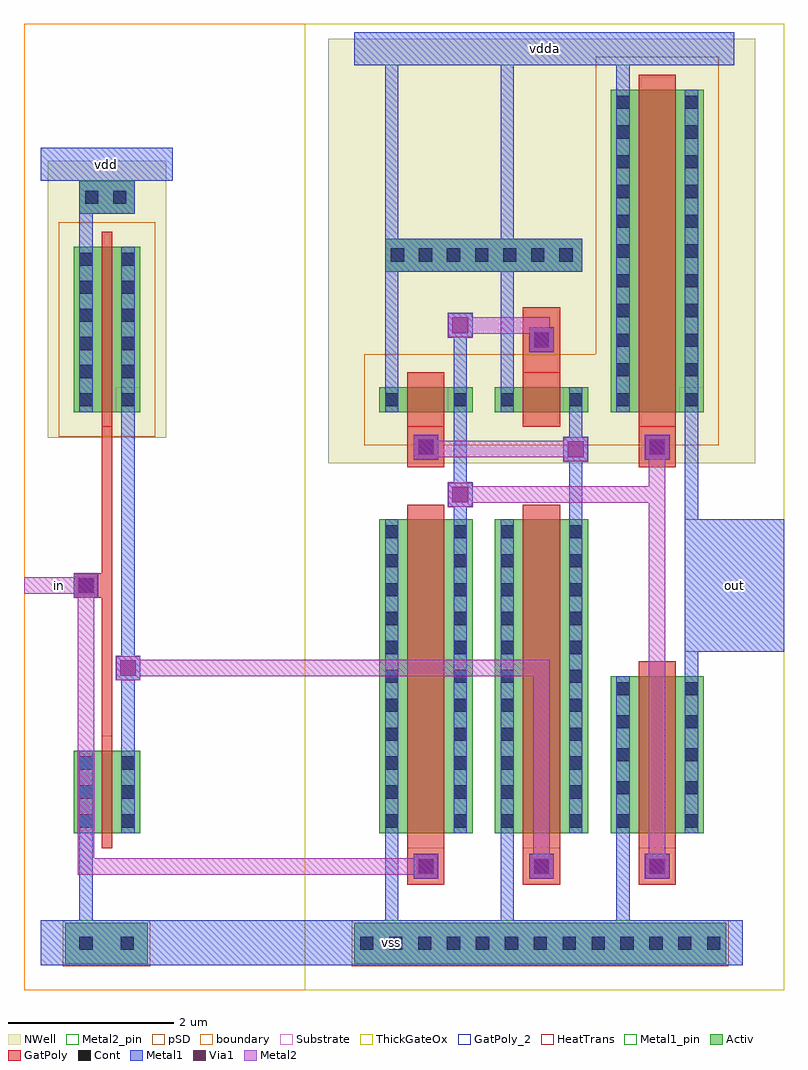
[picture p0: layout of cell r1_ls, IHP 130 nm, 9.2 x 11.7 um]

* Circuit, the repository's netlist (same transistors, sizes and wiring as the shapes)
** R1_LS LVS reference, generated by make_lvs_cdl.py from schematic/g1_ls_up_copy.spice (subckt renamed g1_ls_up -> r1_ls)
.subckt r1_ls in out vdd vdda vss
*.ipin in
*.opin out
*.iopin vdd
*.iopin vdda
*.iopin vss
MPI inb in vdd vdd sg13_lv_pmos w=2u l=0.13u ng=1 m=1
MNI inb in vss vss sg13_lv_nmos w=1u l=0.13u ng=1 m=1
MN1 nb in vss vss sg13_hv_nmos w=3.8u l=0.45u ng=1 m=1
MN2 n inb vss vss sg13_hv_nmos w=3.8u l=0.45u ng=1 m=1
MP1 nb n vdda vdda sg13_hv_pmos w=0.3u l=0.45u ng=1 m=1
MP2 n nb vdda vdda sg13_hv_pmos w=0.3u l=0.45u ng=1 m=1
MPO out nb vdda vdda sg13_hv_pmos w=3.9u l=0.45u ng=1 m=1
MNO out nb vss vss sg13_hv_nmos w=1.9u l=0.45u ng=1 m=1
.ends

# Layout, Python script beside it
#!/usr/bin/env python3
"""r1_ls layout (copy of the G1 g1_ls_up generator; only the cell and file names changed): 1.2 V -> 3.3 V level shifter cell of the g1_ls library, built from the
PDK MOS PCells (SG13_dev: nmos, pmos, nmosHV, pmosHV) plus hand-drawn well/substrate ties,
Metal1/Metal2 wiring, one ThickGateOx rectangle over the 3.3 V part, pin labels and a prBoundary (189/4).

Devices (must match ../xschem/gen_ls.py SIZES):
  MPI  sg13_lv_pmos 2/0.13     LV inverter (vdd well)           MNI  sg13_lv_nmos 1/0.13
  MN1  sg13_hv_nmos 3.8/0.45   pull-down of nb, gate = in      MN2  sg13_hv_nmos 3.8/0.45  gate = inb
  MP1  sg13_hv_pmos 0.3/0.45   keeper of nb, gate = n          MP2  sg13_hv_pmos 0.3/0.45  gate = nb
  MPO  sg13_hv_pmos 3.9/0.45   output inverter (vdda well)     MNO  sg13_hv_nmos 1.9/0.45

Floorplan (design coordinates, um; the written cell is shifted so its lower-left is (0,0)):
  LV column at x = -3.70 (own NWell on vdd, 1.96 um from the vdda NWell: NW.b1 1.8),
  HV NMOS row with Activ bottom at y = 0, HV PMOS row at y = 5.10 inside one NWell on vdda
  (-0.62..4.55 x 4.48..9.62), one ThickGateOx rectangle -0.90..4.90 x -1.90..9.80.
  vss rail along the bottom over two p+ substrate ties, vdda rail on top, vdd rail top-left.
  Signals in/inb/n/nb on Metal2 (0.20 um), everything else Metal1; via pads 0.30 x 0.30 Metal1.
Rule values used (DRC deck at PDK commit 8437402): Act.b 0.21, Gat.b1 0.25, Gat.d 0.07,
  Cnt.a 0.16, Cnt.b 0.18, Cnt.c/d 0.07, Cnt.e 0.14, Cnt.f 0.11, M1.a/b 0.16/0.18, V1.a 0.19,
  V1.c1 0.05, M2.a/b 0.20/0.21, pSD.c1 0.03, pSD.d 0.18, pSD.d1 0.03, pSD.j1 0.40, NW.b1 1.8,
  NW.c 0.31, NW.d1 0.62, NW.e 0.24, NW.f1 0.62, TGO.a/b 0.27, TGO.c/d 0.34.

Run inside the pinned container (KLayout 0.30.9, PDK commit 8437402):
  G1_WORKDIR=designs/r1-joint/blocks/r1_ls/layout flow/run.sh klayout -b -r r1_ls_layout.py
Writes r1_ls.gds (top cell r1_ls), r1_ls.lef and r1_ls.vh next to this script.
"""
import os, sys
K = '/foss/pdks/ihp-sg13g2/libs.tech/klayout/python'
for p in [K, K + '/pycell4klayout-api/source/python']:
    sys.path.insert(0, p)
import pya
import sg13g2_pycell_lib  # registers library SG13_dev (technology sg13g2)

HERE = os.path.dirname(os.path.abspath(__file__))
lib = pya.Library.library_by_name('SG13_dev', 'sg13g2')
LAYERS = {'Activ': (1, 0), 'GatPoly': (5, 0), 'Cont': (6, 0), 'M1': (8, 0), 'M1pin': (8, 2), 'M1txt': (8, 25),
          'M2': (10, 0), 'M2pin': (10, 2), 'M2txt': (10, 25), 'Via1': (19, 0), 'pSD': (14, 0),
          'NWell': (31, 0), 'TGO': (44, 0), 'prBoundary': (189, 4)}
CONT, VIA = 0.16, 0.19
OX, OY = 4.30, 1.90            # shift so that the cell's lower-left corner is (0, 0)
CELL_W, CELL_H = 9.20, 11.70   # cell size (um)

def um(v):
    return int(round(v * 1000))

class Draw:
    def __init__(self, ly, cell):
        self.ly, self.cell = ly, cell
        self.L = {n: ly.layer(*v) for n, v in LAYERS.items()}
        self.pins = []   # (name, layer, box) for the LEF
    def box(self, layer, x1, y1, x2, y2):
        self.cell.shapes(self.L[layer]).insert(pya.Box(um(x1 + OX), um(y1 + OY), um(x2 + OX), um(y2 + OY)))
    def square(self, layer, cx, cy, size):
        self.box(layer, cx - size / 2, cy - size / 2, cx + size / 2, cy + size / 2)
    def label(self, layer, x, y, text):
        t = pya.Text(text, pya.Trans(pya.Point(um(x + OX), um(y + OY))))
        t.size = um(0.2)
        self.cell.shapes(self.L[layer]).insert(t)
    def pin(self, name, metal, x1, y1, x2, y2):
        """pin rectangle on Metal1 or Metal2 (drawing + pin datatype + text)"""
        self.box(metal, x1, y1, x2, y2)
        self.box(metal + 'pin', x1, y1, x2, y2)
        self.label(metal + 'txt', (x1 + x2) / 2, (y1 + y2) / 2, name)
        self.pins.append((name, 'Metal1' if metal == 'M1' else 'Metal2', (x1 + OX, y1 + OY, x2 + OX, y2 + OY)))
    def pcell(self, name, w, l, x, y):
        pcv = lib.layout().add_pcell_variant(lib.layout().pcell_id(name), {'w': '%gu' % w, 'l': '%gu' % l, 'ng': 1})
        cell = self.ly.cell(self.ly.add_lib_cell(lib, pcv))
        self.cell.insert(pya.CellInstArray(cell.cell_index(), pya.Trans(pya.Point(um(x + OX), um(y + OY)))))
    def m1pad(self, cx, cy, via=True):
        """0.30 x 0.30 Metal1 pad, with a Via1 (and a 0.29 x 0.29 Metal2 pad) when via=True"""
        self.square('M1', cx, cy, 0.30)
        if via:
            self.square('Via1', cx, cy, VIA)
            self.square('M2', cx, cy, 0.29)
    def gate_pad(self, gx1, gx2, y_from, y_to, via=True):
        """poly tab from the PCell end cap (y_from) to y_to with one contact and a Metal1 pad;
        the Metal1 pad is 0.30 wide, centred on the gate; returns the contact centre"""
        cy = (y_from + y_to) / 2
        cx = (gx1 + gx2) / 2
        self.box('GatPoly', gx1, min(y_from, y_to), gx2, max(y_from, y_to))
        self.square('Cont', cx, cy, CONT)
        self.m1pad(cx, cy, via)
        return cx, cy
    def m2h(self, y, x1, x2, w=0.20):
        """Metal2 wire along y between the centre points x1 and x2, ends extended by w/2 so that
        a horizontal and a vertical wire meeting at a point form a full corner (no M2.a notch)"""
        self.box('M2', min(x1, x2) - w / 2, y - w / 2, max(x1, x2) + w / 2, y + w / 2)
    def m2v(self, x, y1, y2, w=0.20):
        self.box('M2', x - w / 2, min(y1, y2) - w / 2, x + w / 2, max(y1, y2) + w / 2)
    def tap(self, kind, x1, y1, x2, y2, cx_list, cy):
        """n+ (kind='n', inside an NWell) or p+ (kind='p', pSD ring) tie: Activ box, contacts, Metal1"""
        self.box('Activ', x1, y1, x2, y2)
        if kind == 'p':
            self.box('pSD', x1 - 0.03, y1 - 0.03, x2 + 0.03, y2 + 0.03)
        for cx in cx_list:
            self.square('Cont', cx, cy, CONT)
        self.box('M1', x1, y1, x2, y2)

def build():
    ly = pya.Layout(); ly.dbu = 0.001
    top = ly.create_cell("r1_ls")
    D = Draw(ly, top)

    # ------------------------------------------------------------------ devices
    D.pcell('nmos',   1.0, 0.13, -3.70, 0.00)   # MNI: S -3.63..-3.47, D -3.12..-2.96, poly -3.36..-3.23 x -0.18..1.18
    D.pcell('pmos',   2.0, 0.13, -3.70, 5.10)   # MPI: same x, Activ y 5.10..7.10, poly y 4.92..7.28
    D.pcell('nmosHV', 3.8, 0.45,  0.00, 0.00)   # MN1: S 0.07..0.23, D 0.90..1.06, poly 0.34..0.79 x -0.18..3.98
    D.pcell('nmosHV', 3.8, 0.45,  1.40, 0.00)   # MN2: S 1.47..1.63, D 2.30..2.46, poly 1.74..2.19
    D.pcell('nmosHV', 1.9, 0.45,  2.80, 0.00)   # MNO: S 2.87..3.03, D 3.70..3.86, poly 3.14..3.59 x -0.18..2.08
    D.pcell('pmosHV', 0.3, 0.45,  0.00, 5.10)   # MP1: S 0.07..0.23, D 0.90..1.06, poly 0.34..0.79 x 4.92..5.58
    D.pcell('pmosHV', 0.3, 0.45,  1.40, 5.10)   # MP2: S 1.47..1.63, D 2.30..2.46, poly 1.74..2.19
    D.pcell('pmosHV', 3.9, 0.45,  2.80, 5.10)   # MPO: S 2.87..3.03, D 3.70..3.86, poly 3.14..3.59 x 4.92..9.18

    # wells and thick oxide: one NWell per supply, one ThickGateOx over the whole 3.3 V part
    D.box('NWell', -4.01, 4.79, -2.58, 8.14)    # vdd well (LV PMOS + its tie)
    D.box('NWell', -0.62, 4.48,  4.55, 9.62)    # vdda well (HV PMOS + tie)
    D.box('TGO',   -0.90, -1.90, 4.90, 9.80)

    # ------------------------------------------------------------------ LV inverter (in -> inb)
    # gate: poly strip joins the two gates, tab to the left with the contact
    D.box('GatPoly', -3.36, 1.18, -3.23, 4.92)
    D.box('GatPoly', -3.70, 2.85, -3.23, 3.15)
    D.square('Cont', -3.55, 3.00, CONT)
    D.m1pad(-3.55, 3.00)                                     # via to the in Metal2
    # inb: drain strips joined on Metal1, via pad for the Metal2 wire
    D.box('M1', -3.12, 1.00, -2.96, 5.10)
    D.m1pad(-3.04, 2.00)
    # vdd: source strip up to the n+ tie and the rail
    D.box('M1', -3.63, 7.10, -3.47, 7.50)
    D.tap('n', -3.63, 7.50, -2.96, 7.90, [-3.48, -3.14], 7.70)     # Cnt.b 0.18 between the contacts, Cnt.c 0.07 to the Activ edge
    D.pin('vdd', 'M1', -4.10, 7.90, -2.50, 8.30)
    # vss: source strip down to the rail
    D.box('M1', -3.63, -1.05, -3.47, 0.00)

    # ------------------------------------------------------------------ HV NMOS gates (bottom pads)
    D.gate_pad(0.34, 0.79, -0.18, -0.62)     # MN1 gate = in   (contact at (0.565, -0.40))
    D.gate_pad(1.74, 2.19, -0.18, -0.62)     # MN2 gate = inb
    D.gate_pad(3.14, 3.59, -0.18, -0.62)     # MNO gate = nb
    # sources to the vss rail
    for xs in (0.07, 1.47, 2.87):
        D.box('M1', xs, -1.05, xs + 0.16, 0.00)
    # ------------------------------------------------------------------ HV PMOS gates
    D.gate_pad(0.34, 0.79, 4.92, 4.43)       # MP1 gate = n   (bottom pad, contact (0.565, 4.675))
    D.gate_pad(3.14, 3.59, 4.92, 4.43)       # MPO gate = nb  (bottom pad)
    D.gate_pad(1.74, 2.19, 5.58, 6.37)       # MP2 gate = nb  (top pad, contact (1.965, 5.975))
    # sources to the vdda rail (through the n+ tie)
    for xs in (0.07, 1.47):
        D.box('M1', xs, 5.40, xs + 0.16, 9.30)
    D.box('M1', 2.87, 9.00, 3.03, 9.30)
    D.tap('n', 0.07, 6.80, 2.46, 7.20, [0.22 + 0.34 * i for i in range(7)], 7.00)   # Cnt.c 0.07 enclosure, Cnt.b 0.18
    D.pin('vdda', 'M1', -0.30, 9.30, 4.30, 9.70)

    # ------------------------------------------------------------------ nb and n verticals (Metal1)
    D.box('M1', 0.90, 3.80, 1.06, 6.30)      # nb: MN1 drain -> MP1 drain -> pad for MP2 gate wire
    D.m1pad(0.98, 4.10)                      # via: nb wire to MPO/MNO gates
    D.m1pad(0.98, 6.15)                      # via: nb wire to MP2 gate
    D.box('M1', 2.30, 3.80, 2.46, 5.10)      # n: MN2 drain -> MP2 drain
    D.m1pad(2.38, 4.65)                      # via: n wire to MP1 gate
    D.box('M1', 3.70, 1.90, 3.86, 5.10)      # out: MNO drain -> MPO drain
    D.pin('out', 'M1', 3.70, 2.20, 4.90, 3.80)   # to the right cell edge (Metal1 access from the side, Metal2 window in the LEF)

    # ------------------------------------------------------------------ Metal2 wiring
    # n: MP1 gate pad (0.565, 4.675) <- n via pad (2.38, 4.65)
    D.m2h(4.65, 0.565, 2.38)
    # nb: via pad (0.98, 4.10) -> MPO gate pad (3.365, 4.675) and down to MNO gate pad (3.365, -0.40)
    D.m2h(4.10, 0.98, 3.365)
    D.m2v(3.365, -0.40, 4.675)
    # nb: via pad (0.98, 6.15) -> MP2 gate pad (1.965, 5.975)
    D.m2h(6.15, 0.98, 1.965)
    D.m2v(1.965, 5.975, 6.15)
    # in: LV gate contact (-3.55, 3.00) -> down the left -> along the bottom -> MN1 gate pad (0.565, -0.40)
    D.m2v(-3.55, -0.40, 3.00)
    D.m2h(-0.40, -3.55, 0.565)
    D.pin('in', 'M2', -4.30, 2.90, -3.45, 3.10)
    # inb: LV drain via (-3.04, 2.00) -> right -> down -> MN2 gate pad (1.965, -0.40)
    D.m2h(2.00, -3.04, 1.965)
    D.m2v(1.965, -0.40, 2.00)

    # ------------------------------------------------------------------ substrate ties and vss rail
    D.tap('p', -3.80, -1.58, -2.80, -1.08, [-3.55, -3.05], -1.33)
    D.tap('p', -0.30, -1.58, 4.20, -1.08, [-0.15 + 0.35 * i for i in range(13)], -1.33)
    D.pin('vss', 'M1', -4.10, -1.60, 4.40, -1.05)

    # placement boundary of the cell (prBoundary 189/4), the LEF SIZE; the chip flow's macro
    # abstraction (magic, MAGIC_MACRO_STD_CELL_SOURCE) and KLayout's LEF/DEF import expect it
    top.shapes(D.L['prBoundary']).insert(pya.Box(0, 0, um(CELL_W), um(CELL_H)))

    out = os.path.join(HERE, 'r1_ls.gds')
    ly.write(out)
    bb = top.dbbox()
    print('wrote', out, 'bbox', bb, 'cell size', CELL_W, 'x', CELL_H)
    write_lef(D, ly, top)
    write_vh()
    return ly, top

def rectangles(region):
    """axis-aligned rectangle cover of a merged rectilinear Region: cut it into horizontal bands at
    every polygon vertex y, then take each band's x extents (all edges here are axis-aligned)"""
    ys = set()
    for poly in region.each():
        ys.update(pt.y for pt in poly.each_point_hull())
        for h in range(poly.holes()):
            ys.update(pt.y for pt in poly.each_point_hole(h))
    ys = sorted(ys)
    rects = []
    for y1, y2 in zip(ys, ys[1:]):
        band = region & pya.Region(pya.Box(region.bbox().left, y1, region.bbox().right, y2))
        band.merge()
        for poly in band.each():
            rects.append(poly.bbox())      # a band of a rectilinear region merged without holes is a set of rectangles
    return rects

# Metal2 access windows over the Metal1 pins (design coordinates): inside each window a router may
# drop a Via1 onto the pin; every window keeps >= 0.21 um (M2.b) from the cell's own Metal2.
M2_WINDOWS = {'out': (4.00, 2.20, 4.90, 3.80), 'vdd': (-4.10, 7.90, -2.50, 8.30),
              'vdda': (-0.30, 9.30, 4.30, 9.70), 'vss': (-4.10, -1.60, 4.40, -1.05)}

def write_lef(D, ly, top):
    """LEF for the wrapper / ring flow: CLASS BLOCK, pins on Metal1/Metal2, obstructions on
    Metal1 and Metal2 = cell area minus the pin rectangles grown by the metal spacing, minus the
    Metal2 windows over the Metal1 pins (M2_WINDOWS)."""
    lines = ['VERSION 5.8 ;', 'BUSBITCHARS "[]" ;', 'DIVIDERCHAR "/" ;', '',
             'MACRO r1_ls', '  CLASS BLOCK ;', '  ORIGIN 0 0 ;', '  FOREIGN r1_ls 0 0 ;',
             '  SIZE %.3f BY %.3f ;' % (CELL_W, CELL_H), '  SYMMETRY X Y ;']
    use = {'vdd': 'POWER', 'vdda': 'POWER', 'vss': 'GROUND', 'in': 'SIGNAL', 'out': 'SIGNAL'}
    dirn = {'vdd': 'INOUT', 'vdda': 'INOUT', 'vss': 'INOUT', 'in': 'INPUT', 'out': 'OUTPUT'}
    for name, layer, (x1, y1, x2, y2) in D.pins:
        lines += ['  PIN %s' % name, '    DIRECTION %s ;' % dirn[name], '    USE %s ;' % use[name],
                  '    PORT', '      LAYER %s ;' % layer,
                  '        RECT %.3f %.3f %.3f %.3f ;' % (x1, y1, x2, y2), '    END', '  END %s' % name]
    lines.append('  OBS')
    for metal, lname, sp in (('M1', 'Metal1', 0.18), ('M2', 'Metal2', 0.21)):
        obs = pya.Region(pya.Box(0, 0, um(CELL_W), um(CELL_H)))
        for name, layer, (x1, y1, x2, y2) in D.pins:
            if layer == lname:
                obs -= pya.Region(pya.Box(um(x1 - sp), um(y1 - sp), um(x2 + sp), um(y2 + sp)))
            if lname == 'Metal2' and name in M2_WINDOWS:
                wx1, wy1, wx2, wy2 = M2_WINDOWS[name]
                obs -= pya.Region(pya.Box(um(wx1 + OX), um(wy1 + OY), um(wx2 + OX), um(wy2 + OY)))
        obs.merge()
        lines.append('    LAYER %s ;' % lname)
        for bx in rectangles(obs):
            lines.append('      RECT %.3f %.3f %.3f %.3f ;' % (bx.left / 1000, bx.bottom / 1000, bx.right / 1000, bx.top / 1000))
    lines += ['  END', 'END r1_ls', '', 'END LIBRARY', '']
    with open(os.path.join(HERE, 'r1_ls.lef'), 'w') as f:
        f.write('\n'.join(lines))
    print('wrote r1_ls.lef')

def write_vh():
    with open(os.path.join(HERE, 'r1_ls.vh'), 'w') as f:
        f.write('''// r1_ls: 1.2 V -> 3.3 V level shifter (g1_ls library), black box for the chip-level flow.
// out follows in; vdd = 1.2 V core, vdda = 3.3 V IOVDD, vss = common ground. See ../README.md.
(* blackbox *)
module r1_ls (
    input  wire in,
    output wire out
`ifdef USE_POWER_PINS
    , inout wire vdd,
    inout wire vdda,
    inout wire vss
`endif
);
endmodule
''')
    print('wrote r1_ls.vh')

if __name__ == '__main__':
    build()
